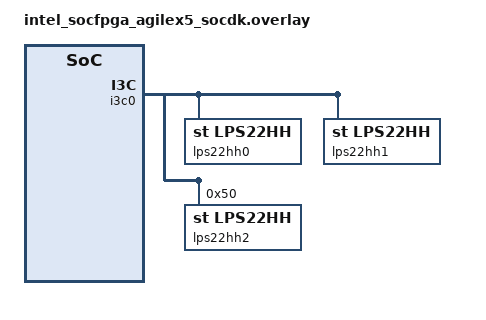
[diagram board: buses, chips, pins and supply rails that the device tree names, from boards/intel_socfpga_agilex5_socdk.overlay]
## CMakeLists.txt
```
# SPDX-License-Identifier: Apache-2.0

cmake_minimum_required(VERSION 3.20.0)

find_package(Zephyr REQUIRED HINTS $ENV{ZEPHYR_BASE})
project(i3c_sample_app_simics)

target_sources(app PRIVATE src/main.c)
```

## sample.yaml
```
sample:
  name: Demo for (I3C)
tests:
  sample.drivers.i3c.sample_app_simics:
    tags: drivers i3c
    depends_on: i3c
    filter: dt_nodelabel_enabled("i3c0")
    harness: console
```

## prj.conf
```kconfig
CONFIG_STDOUT_CONSOLE=y
CONFIG_PRINTK=y
CONFIG_HEAP_MEM_POOL_SIZE=4096

CONFIG_I3C=y
CONFIG_SENSOR=y
```

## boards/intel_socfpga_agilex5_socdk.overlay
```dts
/*
 * Copyright (C) 2023 Intel Corporation
 *
 * SPDX-License-Identifier: Apache-2.0
 */

&i3c0 {
	status = "okay";

	lps22hh0: lps22hh@FB1122330001 { /* i3c device */
		compatible = "st,lps22hh";
		reg = <0x00 0xFB11 0x22330001>;
		status = "okay";
	};

	lps22hh1: lps22hh@FB1122330002 { /* i3c device */
		compatible = "st,lps22hh";
		reg = <0x00 0xFB11 0x22330002>;
		status = "okay";
	};

	lps22hh2: lps22hh@500000000000000050 { /* i2c device */
	compatible = "st,lps22hh";
	reg = <0x50 0x0 0x50>;
	status = "okay";
	};
};
```

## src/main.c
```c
/*
 * Copyright (C) 2023, Intel Corporation
 *
 * SPDX-License-Identifier: Apache-2.0
 */

#include <zephyr/kernel.h>
#include <zephyr/drivers/i3c.h>

#define I3C_DEV_PID                   0xFB1122330001

#define I2C_ADDR                      0x50
#define I2C_REG_ADDR                  0x00
#define MAX_BYTES                     31
#define MAX_BYTES_FOR_REGISTER_INDEX  1

static int i2c_write_bytes(const struct device *i2c_dev, uint8_t addr,
		       uint8_t *data, uint32_t num_bytes);

static int i2c_read_bytes(const struct device *i2c_dev, uint8_t addr,
		      uint8_t *data, uint32_t num_bytes);

int main(void)
{
	uint8_t data[] = {0xaa, 0xbb, 0xcc, 0xdd, 0xee};
	uint8_t rdata[5];
	int ret;

	const struct device *i3c_dev = DEVICE_DT_GET(DT_NODELABEL(i3c0));

	if (!device_is_ready(i3c_dev)) {
		printk("I3C: Device is not ready\n");
		return -ENODEV;
	}

	/* I3C write-read operation */
	printk("\n#### Starting i3c read-write transactions ####\n");
	uint64_t pid = I3C_DEV_PID;
	const struct i3c_device_id i3c_id = I3C_DEVICE_ID(pid);
	struct i3c_device_desc *target = i3c_device_find(i3c_dev, &i3c_id);

	printk("%s: PID 0x%012llx\n", i3c_dev->name, pid);

	if (target != NULL) {
		/**
		 * dummy read, as in bus_init we write some data as a part of CCC,
		 * hence with this read transaction we are flushing the RX fifo.
		 * This is needed because the way simics i3c target is simulated
		 * it pops out the invert of the last written value.
		 */
		ret = i3c_read(target, &rdata[0], 1);

		ret = i3c_write(target, data, sizeof(data));
		if (ret) {
			printk("Error writing: Device address (%d), error code (%d)\n",
				target->dynamic_addr, ret);
			return ret;
		}
		printk("Wrote to i3c device with address (%d)\n",
			target->dynamic_addr);

		ret =  i3c_read(target, rdata, 5);
		if (ret) {
			printk("Error reading: Device address (%d), error code (%d)\n",
			target->dynamic_addr, ret);
			return ret;
		}

		printk("Read i3c device with address (%d)\n", target->dynamic_addr);

		printk("Read data: 0x%X, 0x%X, 0x%X, 0x%X, 0x%X\n",
				rdata[0], rdata[1], rdata[2], rdata[3], rdata[4]);
	}

	/* I2C write-read operation */
	printk("\n#### Starting i2c read-write transactions ####\n");
	uint8_t i2c_data[] = {0xa5, 0xa6, 0xa7, 0xa8, 0xa9, 0xb0, 0xb7};
	uint8_t i2c_dataRx[sizeof(i2c_data)];

	ret = i2c_write_bytes(i3c_dev, I2C_REG_ADDR, &i2c_data[0], sizeof(i2c_data));
	if (ret) {
		printk("Error writing to I2C Device! error code (%d)\n", ret);
		return ret;
	}
	printk("i2c write transaction successful\n");

	(void)memset(i2c_dataRx, 0, sizeof(i2c_dataRx));
	ret = i2c_read_bytes(i3c_dev, I2C_REG_ADDR, &i2c_dataRx[0], sizeof(i2c_dataRx));
	if (ret) {
		printk("Error reading an I2C Device! error code (%d)\n", ret);
		return ret;
	}

	if (memcmp(i2c_data, i2c_dataRx, sizeof(data)) != 0) {
		printk("i2c Data comparison not successful\n");
	} else {
		printk("i2c Data comparison successful\n");
	}

	return 0;
}

/* i2c write byte wrapper */
static int i2c_write_bytes(const struct device *i2c_dev, uint8_t addr,
		       uint8_t *data, uint32_t num_bytes)
{
	uint8_t wr_addr_data[MAX_BYTES + MAX_BYTES_FOR_REGISTER_INDEX - 1];
	struct i2c_msg msgs[1];
	int i = 0;

	wr_addr_data[0] = addr; /* FRAM address */

	/* load data */
	for (i = 0; i < num_bytes; i++) {
		wr_addr_data[MAX_BYTES_FOR_REGISTER_INDEX + i] = data[i];
	}

	/*incrementing because inner eeprom address is also of 1 byte*/
	uint32_t nbytes = num_bytes + 1;

	/* Setup I2C messages */
	/* Send the address + data to write to */
	msgs[0].buf = wr_addr_data;
	msgs[0].len = nbytes;
	msgs[0].flags = I2C_MSG_WRITE | I2C_MSG_STOP;

	return i2c_transfer(i2c_dev, &msgs[0], 1, I2C_ADDR);
}

/* i2c read byte wrapper */
static int i2c_read_bytes(const struct device *i2c_dev, uint8_t addr,
		      uint8_t *data, uint32_t num_bytes)
{
	struct i2c_msg msgs[2];

	/* Setup I2C messages */

	/* Send the address to read from */
	msgs[0].buf = (uint8_t *)&addr; /* FRAM address */
	msgs[0].len = 1U;
	msgs[0].flags = I2C_MSG_WRITE;

	/* Read from device. STOP after this. */
	msgs[1].buf = data;
	msgs[1].len = num_bytes;
	msgs[1].flags = I2C_MSG_READ | I2C_MSG_STOP;

	return i2c_transfer(i2c_dev, &msgs[0], 2, I2C_ADDR);
}
```
